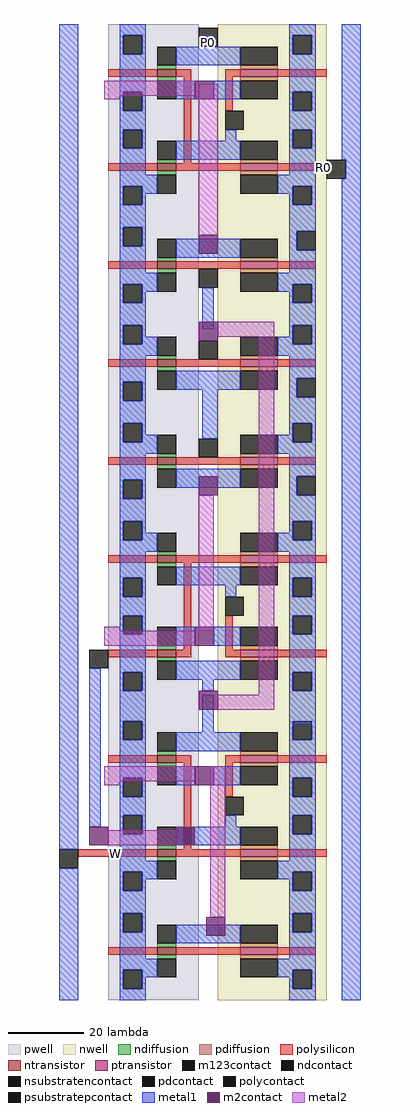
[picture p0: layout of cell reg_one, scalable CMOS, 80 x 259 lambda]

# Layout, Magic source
magic
tech scmos
<< polysilicon >>
rect 60 220 63 222
rect 5 91 8 93
rect -3 38 12 40
<< polycontact >>
rect 63 218 68 223
rect 29 189 34 194
rect 0 88 5 93
rect -8 35 -3 40
<< metal1 >>
rect -8 40 -3 259
rect 67 223 72 259
rect 68 218 72 223
rect 30 178 33 189
rect 0 46 3 88
rect 30 71 33 81
rect -8 0 -3 35
rect 8 0 15 1
rect 53 0 60 1
rect 67 0 72 218
<< m2contact >>
rect 29 198 34 203
rect 0 41 5 46
rect 23 41 28 46
rect 31 17 36 22
<< metal2 >>
rect 29 203 34 243
rect 5 41 23 45
rect 32 22 36 62
<< m123contact >>
rect 29 253 34 258
use new_inv  new_inv_3
transform 1 0 -72 0 -1 212
box 77 4 135 30
use new_inv_reg  new_inv_state_0
transform 1 0 -72 0 -1 30
box 77 4 135 30
use tg  tg_1
transform 1 0 -82 0 -1 302
box 86 43 145 94
use tg  tg_5
transform 1 0 -82 0 -1 120
box 86 43 145 94
use stat_reg  stat_reg_1
transform 1 0 5 0 1 73
box -1 0 58 109
<< labels >>
rlabel polysilicon 7 38 7 40 1 W
rlabel polysilicon 62 220 62 222 1 R0
rlabel metal1 30 254 33 254 1 P0
<< end >>

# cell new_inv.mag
magic
tech scmos
<< nwell >>
rect 106 4 135 30
<< pwell >>
rect 77 4 101 30
<< ntransistor >>
rect 90 16 95 18
<< ptransistor >>
rect 112 16 122 18
<< ndiffusion >>
rect 90 18 95 19
rect 90 15 95 16
<< pdiffusion >>
rect 112 18 122 19
rect 112 15 122 16
<< ndcontact >>
rect 90 19 95 24
rect 90 10 95 15
<< pdcontact >>
rect 112 19 122 24
rect 112 10 122 15
<< psubstratepcontact >>
rect 81 22 86 27
rect 81 7 86 12
<< nsubstratencontact >>
rect 126 22 131 27
rect 127 8 132 13
<< polysilicon >>
rect 77 16 90 18
rect 95 16 112 18
rect 122 16 132 18
<< polycontact >>
rect 101 18 106 23
<< metal1 >>
rect 80 27 87 30
rect 80 22 81 27
rect 86 24 87 27
rect 125 27 132 30
rect 125 24 126 27
rect 86 22 90 24
rect 80 19 90 22
rect 80 12 87 19
rect 122 22 126 24
rect 131 22 132 27
rect 122 19 132 22
rect 80 7 81 12
rect 86 7 87 12
rect 95 10 112 15
rect 125 13 132 19
rect 80 4 87 7
rect 125 8 127 13
rect 125 4 132 8
<< labels >>
rlabel metal1 126 5 131 5 1 Vdd!
rlabel metal1 81 5 86 5 1 GND!
<< end >>

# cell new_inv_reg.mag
magic
tech scmos
<< nwell >>
rect 106 4 135 30
<< pwell >>
rect 77 4 101 30
<< ntransistor >>
rect 90 16 95 18
<< ptransistor >>
rect 112 16 122 18
<< ndiffusion >>
rect 90 18 95 19
rect 90 15 95 16
<< pdiffusion >>
rect 112 18 122 19
rect 112 15 122 16
<< ndcontact >>
rect 90 19 95 24
rect 90 10 95 15
<< pdcontact >>
rect 112 19 122 24
rect 112 10 122 15
<< psubstratepcontact >>
rect 81 22 86 27
rect 81 7 86 12
<< nsubstratencontact >>
rect 126 22 131 27
rect 126 7 131 12
<< polysilicon >>
rect 77 16 90 18
rect 95 16 112 18
rect 122 16 132 18
<< metal1 >>
rect 80 27 87 30
rect 80 22 81 27
rect 86 24 87 27
rect 125 27 132 30
rect 125 24 126 27
rect 86 22 90 24
rect 80 19 90 22
rect 122 22 126 24
rect 131 22 132 27
rect 122 19 132 22
rect 80 12 87 19
rect 80 7 81 12
rect 86 7 87 12
rect 95 10 112 15
rect 125 12 132 19
rect 80 4 87 7
rect 125 7 126 12
rect 131 7 132 12
rect 125 4 132 7
<< labels >>
rlabel metal1 126 5 131 5 1 Vdd!
rlabel metal1 81 5 86 5 1 GND!
<< end >>

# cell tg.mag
magic
tech scmos
<< nwell >>
rect 116 43 145 94
<< pwell >>
rect 87 43 111 94
<< ntransistor >>
rect 100 80 105 82
rect 100 55 105 57
<< ptransistor >>
rect 122 80 132 82
rect 122 55 132 57
<< ndiffusion >>
rect 100 82 105 83
rect 100 79 105 80
rect 100 57 105 58
rect 100 54 105 55
<< pdiffusion >>
rect 122 82 132 83
rect 122 79 132 80
rect 122 57 132 58
rect 122 54 132 55
<< ndcontact >>
rect 100 83 105 88
rect 100 74 105 79
rect 100 58 105 63
rect 100 49 105 54
<< pdcontact >>
rect 122 83 132 88
rect 122 74 132 79
rect 122 58 132 63
rect 122 49 132 54
<< psubstratepcontact >>
rect 91 86 96 91
rect 91 71 96 76
rect 91 61 96 66
rect 91 46 96 51
<< nsubstratencontact >>
rect 136 86 141 91
rect 136 71 141 76
rect 136 61 141 66
rect 136 46 141 51
<< polysilicon >>
rect 87 80 100 82
rect 105 80 122 82
rect 132 80 145 82
rect 107 57 109 80
rect 87 55 100 57
rect 105 55 109 57
rect 118 57 120 66
rect 118 55 122 57
rect 132 55 145 57
<< polycontact >>
rect 118 66 123 71
<< metal1 >>
rect 90 91 97 94
rect 90 86 91 91
rect 96 88 97 91
rect 135 91 142 94
rect 135 88 136 91
rect 96 86 100 88
rect 90 83 100 86
rect 132 86 136 88
rect 141 86 142 91
rect 132 83 142 86
rect 90 76 97 83
rect 90 71 91 76
rect 96 71 97 76
rect 105 74 122 79
rect 135 76 142 83
rect 90 66 97 71
rect 118 71 121 74
rect 135 71 136 76
rect 141 71 142 76
rect 135 66 142 71
rect 90 61 91 66
rect 96 61 97 66
rect 90 51 97 61
rect 105 58 110 63
rect 115 58 122 63
rect 135 61 136 66
rect 141 61 142 66
rect 90 46 91 51
rect 96 46 97 51
rect 105 49 122 54
rect 135 51 142 61
rect 112 46 115 49
rect 135 46 136 51
rect 141 46 142 51
rect 90 43 97 46
rect 135 43 142 46
<< m2contact >>
rect 110 58 115 63
<< metal2 >>
rect 86 62 90 63
rect 86 58 110 62
<< labels >>
rlabel metal1 112 47 115 47 1 out
rlabel metal1 136 44 141 44 1 Vdd!
rlabel polysilicon 88 80 88 82 3 EN
rlabel metal1 136 92 141 92 5 Vdd!
rlabel metal1 91 92 96 92 5 GND!
rlabel metal1 91 44 96 44 1 GND!
<< end >>

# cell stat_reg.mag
magic
tech scmos
<< nwell >>
rect 29 0 58 7
<< pwell >>
rect 0 0 24 7
<< polycontact >>
rect 24 97 29 102
rect 24 71 29 76
<< metal1 >>
rect 25 76 29 90
rect 3 1 10 7
rect 48 0 55 7
<< m2contact >>
rect 24 102 29 107
rect 24 61 29 66
rect 24 4 29 9
<< metal2 >>
rect 29 103 44 107
rect 24 25 28 61
rect 40 8 44 103
rect 29 4 44 8
use tg  tg_0
transform 1 0 -87 0 1 -37
box 86 43 145 94
use new_inv  new_inv_0
transform 1 0 -77 0 1 53
box 77 4 135 30
use new_inv  new_inv_1
transform 1 0 -77 0 1 79
box 77 4 135 30
<< end >>
